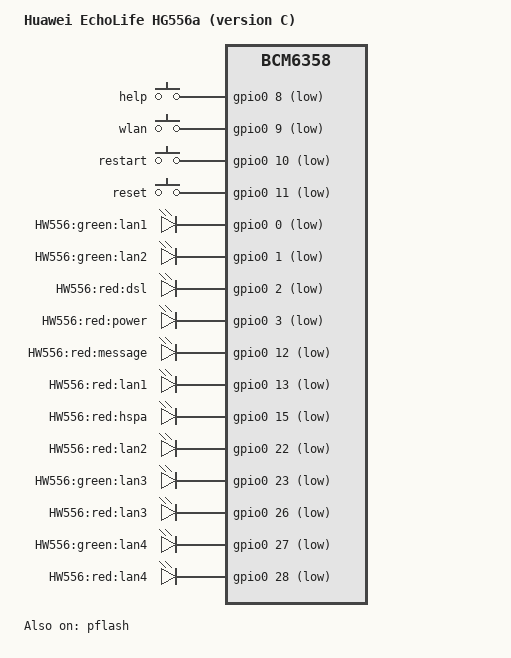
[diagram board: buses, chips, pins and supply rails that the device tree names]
/dts-v1/;

/include/ "bcm6358.dtsi"

/ {
	model = "Huawei EchoLife HG556a (version C)";
	compatible = "huawei,hg556a-c", "brcm,bcm6358";

	gpio-keys-polled {
		compatible = "gpio-keys-polled";
		#address-cells = <1>;
		#size-cells = <0>;
		poll-interval = <20>;
		debounce-interval = <60>;

		help {
			label = "help";
			gpios = <&gpio0 8 1>;
			linux,code = <0x8a>;
		};
		wlan {
			label = "wlan";
			gpios = <&gpio0 9 1>;
			linux,code = <0xee>;
		};
		restart {
			label = "restart";
			gpios = <&gpio0 10 1>;
			linux,code = <0x198>;
		};
		reset {
			label = "reset";
			gpios = <&gpio0 11 1>;
			linux,code = <0xab>;
		};
	};

	gpio-leds {
		compatible = "gpio-leds";

		lan1_green {
			label = "HW556:green:lan1";
			gpios = <&gpio0 0 1>;
		};
		lan2_green {
			label = "HW556:green:lan2";
			gpios = <&gpio0 1 1>;
		};
		dsl_red {
			label = "HW556:red:dsl";
			gpios = <&gpio0 2 1>;
		};
		power_red {
			label = "HW556:red:power";
			gpios = <&gpio0 3 1>;
			default-state = "on";
		};
		message_red {
			label = "HW556:red:message";
			gpios = <&gpio0 12 1>;
		};
		lan1_red {
			label = "HW556:red:lan1";
			gpios = <&gpio0 13 1>;
		};
		hspa_red {
			label = "HW556:red:hspa";
			gpios = <&gpio0 15 1>;
		};
		lan2_red {
			label = "HW556:red:lan2";
			gpios = <&gpio0 22 1>;
		};
		lan3_green {
			label = "HW556:green:lan3";
			gpios = <&gpio0 23 1>;
		};
		lan3_red {
			label = "HW556:red:lan3";
			gpios = <&gpio0 26 1>;
		};
		lan4_green {
			label = "HW556:green:lan4";
			gpios = <&gpio0 27 1>;
		};
		lan4_red {
			label = "HW556:red:lan4";
			gpios = <&gpio0 28 1>;
		};
	};
};

&pflash {
	status = "ok";

	linux,part-probe = "bcm63xxpart";

	cfe@0 {
		label = "CFE";
		reg = <0x000000 0x020000>;
		read-only;
	};

	linux@20000 {
		label = "linux";
		reg = <0x020000 0xec0000>;
	};

	cal_data@ee0000 {
		label = "cal_data";
		reg = <0xee0000 0x100000>;
		read-only;
	};

	nvram@fe0000 {
		label = "nvram";
		reg = <0xfe0000 0x020000>;
	};
};
